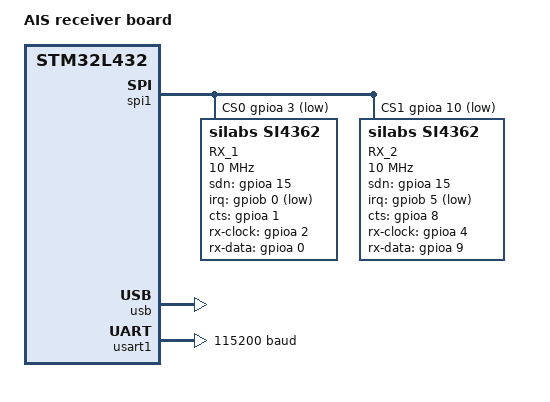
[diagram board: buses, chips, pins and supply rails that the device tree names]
/*
 * Copyright (c) 2017 Linaro Limited
 *
 * SPDX-License-Identifier: Apache-2.0
 */

/dts-v1/;
#include <st/l4/stm32l432Xc.dtsi>

/ {
	model = "AIS receiver board";
	compatible = "st,stm32l432";

	chosen {
		//zephyr,console = &usart1;
		//zephyr,shell-uart = &usart1;
		zephyr,sram = &sram0;
		zephyr,flash = &flash0;
	};
};

&spi1 {
	status = "okay";
	cs-gpios = <&gpioa 3 GPIO_ACTIVE_LOW>, <&gpioa 10 GPIO_ACTIVE_LOW>;

	rx1: si4362@0 {
		compatible = "silabs,si4362";
		reg = <0>;
		label = "RX_1";
		spi-max-frequency = <10000000>;

		clock-frequency = <32000000>; // oops!
		clock-output; // On GPIO0

		sdn-gpios = <&gpioa 15 GPIO_ACTIVE_HIGH>;
		irq-gpios = <&gpiob 0 (GPIO_PULL_UP | GPIO_ACTIVE_LOW)>;
		cts-gpios = <&gpioa 1 (GPIO_PULL_DOWN | GPIO_ACTIVE_HIGH)>;      // GPIO1
		rx-clock-gpios = <&gpioa 2 (GPIO_PULL_DOWN | GPIO_ACTIVE_HIGH)>; // GPIO2
		rx-data-gpios = <&gpioa 0 (GPIO_PULL_DOWN | GPIO_ACTIVE_HIGH)>;  // GPIO3

	};

	rx2: si4362@1 {
		compatible = "silabs,si4362";
		reg = <1>;
		label = "RX_2";
		spi-max-frequency = <10000000>;

		clock-frequency = <32000000>;
		bypass-crystal;
		// SDN is shared
		sdn-gpios = <&gpioa 15 GPIO_ACTIVE_HIGH>;
		irq-gpios = <&gpiob 5 (GPIO_PULL_UP | GPIO_ACTIVE_LOW)>;
		cts-gpios = <&gpioa 8 (GPIO_PULL_DOWN | GPIO_ACTIVE_HIGH)>;      // GPIO1
		rx-clock-gpios = <&gpioa 4 (GPIO_PULL_DOWN | GPIO_ACTIVE_HIGH)>; // GPIO2
		rx-data-gpios = <&gpioa 9 (GPIO_PULL_DOWN | GPIO_ACTIVE_HIGH)>;  // GPIO3
	};
};

&usb {
	status = "okay";
};

&usart1 {
	status = "okay";
	current-speed = <115200>;
};
